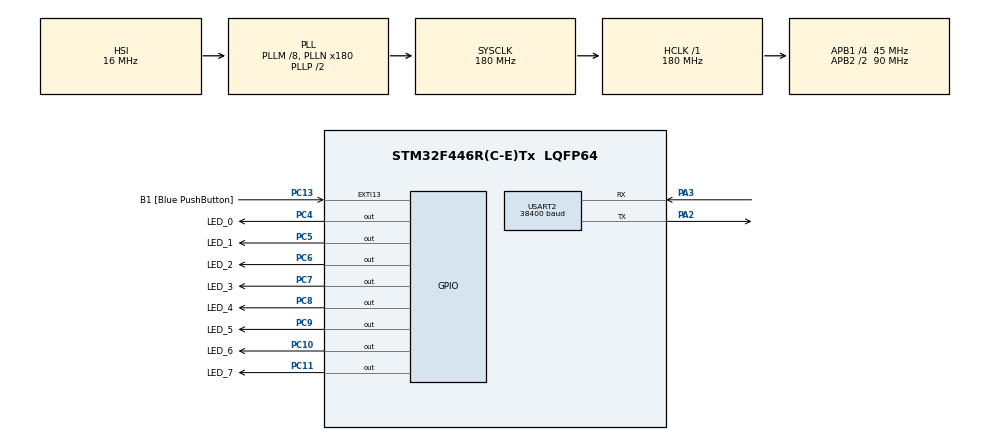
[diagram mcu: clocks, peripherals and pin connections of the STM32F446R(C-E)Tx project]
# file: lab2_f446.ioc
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Mcu.Family=STM32F4
Mcu.Name=STM32F446R(C-E)Tx
Mcu.Package=LQFP64
NVIC.PriorityGroup=NVIC_PRIORITYGROUP_0
NVIC.USART2_IRQn=true\:0\:0\:false\:false\:true\:true\:true\:true
PA13.GPIO_Label=TMS
PA13.Mode=Serial_Wire
PA13.Signal=SYS_JTMS-SWDIO
PA14.GPIO_Label=TCK
PA14.Mode=Serial_Wire
PA14.Signal=SYS_JTCK-SWCLK
PA2.GPIO_ModeDefaultPP=GPIO_MODE_AF_PP
PA2.GPIO_PuPd=GPIO_NOPULL
PA2.GPIO_Speed=GPIO_SPEED_FREQ_VERY_HIGH
PA2.Mode=Asynchronous
PA2.Signal=USART2_TX
PA3.GPIO_ModeDefaultPP=GPIO_MODE_AF_PP
PA3.GPIO_PuPd=GPIO_NOPULL
PA3.GPIO_Speed=GPIO_SPEED_FREQ_VERY_HIGH
PA3.Mode=Asynchronous
PA3.Signal=USART2_RX
PB3.GPIO_Label=SWO
PB3.Signal=SYS_JTDO-SWO
PC10.GPIO_Label=LED_6
PC10.Signal=GPIO_Output
PC11.GPIO_Label=LED_7
PC11.Signal=GPIO_Output
PC13.GPIO_Label=B1 [Blue PushButton]
PC13.GPIO_ModeDefaultEXTI=GPIO_MODE_IT_FALLING
PC13.Signal=GPXTI13
PC14-OSC32_IN.Mode=LSE-External-Oscillator
PC14-OSC32_IN.Signal=RCC_OSC32_IN
PC15-OSC32_OUT.Mode=LSE-External-Oscillator
PC15-OSC32_OUT.Signal=RCC_OSC32_OUT
PC4.GPIO_Label=LED_0
PC4.Signal=GPIO_Output
PC5.GPIO_Label=LED_1
PC5.Signal=GPIO_Output
PC6.GPIO_Label=LED_2
PC6.Signal=GPIO_Output
PC7.GPIO_Label=LED_3
PC7.Signal=GPIO_Output
PC8.GPIO_Label=LED_4
PC8.Signal=GPIO_Output
PC9.GPIO_Label=LED_5
PC9.Signal=GPIO_Output
PH0-OSC_IN.Mode=HSE-External-Oscillator
PH0-OSC_IN.Signal=RCC_OSC_IN
PH1-OSC_OUT.Mode=HSE-External-Oscillator
PH1-OSC_OUT.Signal=RCC_OSC_OUT
ProjectManager.HeapSize=0x200
ProjectManager.StackSize=0x400
ProjectManager.TargetToolchain=STM32CubeIDE
RCC.48MHZClocksFreq_Value=84000000
RCC.AHBFreq_Value=180000000
RCC.APB1CLKDivider=RCC_HCLK_DIV4
RCC.APB1Freq_Value=45000000
RCC.APB1TimFreq_Value=90000000
RCC.APB2CLKDivider=RCC_HCLK_DIV2
RCC.APB2Freq_Value=90000000
RCC.APB2TimFreq_Value=180000000
RCC.CortexFreq_Value=180000000
RCC.FLatency-AdvancedSettings=FLASH_LATENCY_5
RCC.HCLKFreq_Value=180000000
RCC.HSE_VALUE=8000000
RCC.HSI_VALUE=16000000
RCC.PLLM=8
RCC.PLLN=180
RCC.SYSCLKFreq_VALUE=180000000
RCC.SYSCLKSource=RCC_SYSCLKSOURCE_PLLCLK
RCC.USBFreq_Value=180000000
RCC.VCOOutputFreq_Value=360000000
USART2.BaudRate=38400
USART2.VirtualMode=VM_ASYNC
board=NUCLEO-F446RE

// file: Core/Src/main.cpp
/* USER CODE BEGIN Header */
/**
  ******************************************************************************
  * @file           : main.c
  * @brief          : Main program body
  ******************************************************************************
  * @attention
  *
  * Copyright (c) 2024 STMicroelectronics.
  * All rights reserved.
  *
  * This software is licensed under terms that can be found in the LICENSE file
  * in the root directory of this software component.
  * If no LICENSE file comes with this software, it is provided AS-IS.
  *
  ******************************************************************************
  */
/* USER CODE END Header */
#include "main.h"
#include "usart.h"
#include "gpio.h"

/* USER CODE BEGIN Includes */
#include "string.h"
#include "led_utils.hpp"
#include "etl/vector.h"
/* USER CODE END Includes */

/* USER CODE BEGIN PD */
#define BUFF_SIZE (100)
/* USER CODE END PD */

void SystemClock_Config(void);

/* USER CODE BEGIN 0 */
LED_Vector<8> led_vec;

uint8_t tmp_rx_data;
uint32_t buffer_counter = 0;
uint8_t buffer[BUFF_SIZE] = {0};

void HAL_UART_RxCpltCallback(UART_HandleTypeDef *huart)
{
	if (huart->Instance == huart2.Instance)
	{
	//	Read to Buffer
		if (buffer_counter >= BUFF_SIZE -1) buffer_counter = 0; // Reset buffer counter if size of string too big
		buffer[buffer_counter++] = tmp_rx_data;

	//	Check if buffer is big enough
		if (process_buffer())
		{
			// Reset buffer whenever command executed successfully
			buffer_counter = 0;
			memset(&buffer, 0, BUFF_SIZE);
		}

//		Read the next characters
		HAL_UART_Receive_IT(&huart2, &tmp_rx_data, 1);

	}

}

uint8_t process_buffer()
{
//	HAL_UART_Transmit(&huart2, &buffer, buffer_counter, 1000);
	if (strstr((char*)&buffer, "PING") != NULL)
	{
		char* feedback = "PING OK\n";
		HAL_UART_Transmit(&huart2, (uint8_t*)feedback, strlen(feedback), 1000);
		return 1;
	}
	else if (strstr((char*)&buffer, "ALL ON") != NULL)
	{
		char* feedback = "ALL ON OK\n";
		HAL_UART_Transmit(&huart2, (uint8_t*)feedback, strlen(feedback), 1000);
		led_vec.all_on();
		return 1;
	}
	else if (strstr((char*)&buffer, "ALL OFF") != NULL)
	{
		char* feedback = "ALL OFF OK\n";
		HAL_UART_Transmit(&huart2, (uint8_t*)feedback, strlen(feedback), 1000);
		led_vec.all_off();
		return 1;
	}
	else // Commands with argument
	{
		char tmp_str[BUFF_SIZE] = {0};
//		Copy to tmp string
		strcpy(tmp_str, (char*)buffer);
		char *cmd = strtok(tmp_str, " ");
		char *arg = strtok(NULL, " ");

		if (strstr(cmd, "TURN") != NULL)
		{
			if (strlen(arg) >= 10) // successful got the argument for turn
			{
				char tmp_fb[100];
				strcpy(tmp_fb, "CMD: TURN | ARG: ");
				strcat(tmp_fb, arg);
				strcat(tmp_fb, "\n");
				HAL_UART_Transmit(&huart2, (uint8_t*)tmp_fb, strlen(tmp_fb), 1000);
				led_vec.turn(&arg[2]);
				return 1;
			}
		}
		else if (strstr(cmd, "ASK") != NULL)
		{
			if (strlen(arg) >= 1) // successful got the argument for turn
			{
				char tmp_fb[100];
				itoa(led_vec.get_state(atoi(arg)), tmp_fb, 10);
				strcat(tmp_fb, "\n" );
				HAL_UART_Transmit(&huart2, (uint8_t*)tmp_fb, strlen(tmp_fb), 1000);
				return 1;
			}
		}

	}

//

	return 0;
}

/* USER CODE END 0 */

int main(void)
{
  /* USER CODE BEGIN 1 */
	LED LED_0 {LED_0_GPIO_Port, LED_0_Pin};
	LED LED_1 {LED_1_GPIO_Port, LED_1_Pin};
	LED LED_2 {LED_2_GPIO_Port, LED_2_Pin};
	LED LED_3 {LED_3_GPIO_Port, LED_3_Pin};
	LED LED_4 {LED_4_GPIO_Port, LED_4_Pin};
	LED LED_5 {LED_5_GPIO_Port, LED_5_Pin};
	LED LED_6 {LED_6_GPIO_Port, LED_6_Pin};
	LED LED_7 {LED_7_GPIO_Port, LED_7_Pin};

	led_vec.vec.push_back(&LED_0);
	led_vec.vec.push_back(&LED_1);
	led_vec.vec.push_back(&LED_2);
	led_vec.vec.push_back(&LED_3);
	led_vec.vec.push_back(&LED_4);
	led_vec.vec.push_back(&LED_5);
	led_vec.vec.push_back(&LED_6);
	led_vec.vec.push_back(&LED_7);
  /* USER CODE END 1 */

  /* MCU Configuration--------------------------------------------------------*/

  /* Reset of all peripherals, Initializes the Flash interface and the Systick. */
  HAL_Init();

  /* Configure the system clock */
  SystemClock_Config();

  /* Initialize all configured peripherals */
  MX_GPIO_Init();
  MX_USART2_UART_Init();
  /* USER CODE BEGIN 2 */
  HAL_UART_Receive_IT(&huart2, &tmp_rx_data, 1);

  /* USER CODE END 2 */

  /* Infinite loop */
  while (1)
  {

  }
}

void SystemClock_Config(void)
{
  RCC_OscInitTypeDef RCC_OscInitStruct = {0};
  RCC_ClkInitTypeDef RCC_ClkInitStruct = {0};

  /** Configure the main internal regulator output voltage
  */
  __HAL_RCC_PWR_CLK_ENABLE();
  __HAL_PWR_VOLTAGESCALING_CONFIG(PWR_REGULATOR_VOLTAGE_SCALE1);

  /** Initializes the RCC Oscillators according to the specified parameters
  * in the RCC_OscInitTypeDef structure.
  */
  RCC_OscInitStruct.OscillatorType = RCC_OSCILLATORTYPE_HSI;
  RCC_OscInitStruct.HSIState = RCC_HSI_ON;
  RCC_OscInitStruct.HSICalibrationValue = RCC_HSICALIBRATION_DEFAULT;
  RCC_OscInitStruct.PLL.PLLState = RCC_PLL_ON;
  RCC_OscInitStruct.PLL.PLLSource = RCC_PLLSOURCE_HSI;
  RCC_OscInitStruct.PLL.PLLM = 8;
  RCC_OscInitStruct.PLL.PLLN = 180;
  RCC_OscInitStruct.PLL.PLLP = RCC_PLLP_DIV2;
  RCC_OscInitStruct.PLL.PLLQ = 2;
  RCC_OscInitStruct.PLL.PLLR = 2;
  if (HAL_RCC_OscConfig(&RCC_OscInitStruct) != HAL_OK)
  {
    Error_Handler();
  }

  /** Activate the Over-Drive mode
  */
  if (HAL_PWREx_EnableOverDrive() != HAL_OK)
  {
    Error_Handler();
  }

  /** Initializes the CPU, AHB and APB buses clocks
  */
  RCC_ClkInitStruct.ClockType = RCC_CLOCKTYPE_HCLK|RCC_CLOCKTYPE_SYSCLK
                              |RCC_CLOCKTYPE_PCLK1|RCC_CLOCKTYPE_PCLK2;
  RCC_ClkInitStruct.SYSCLKSource = RCC_SYSCLKSOURCE_PLLCLK;
  RCC_ClkInitStruct.AHBCLKDivider = RCC_SYSCLK_DIV1;
  RCC_ClkInitStruct.APB1CLKDivider = RCC_HCLK_DIV4;
  RCC_ClkInitStruct.APB2CLKDivider = RCC_HCLK_DIV2;

  if (HAL_RCC_ClockConfig(&RCC_ClkInitStruct, FLASH_LATENCY_5) != HAL_OK)
  {
    Error_Handler();
  }
}

void Error_Handler(void)
{
  __disable_irq();
  while (1)
  {
  }
}
